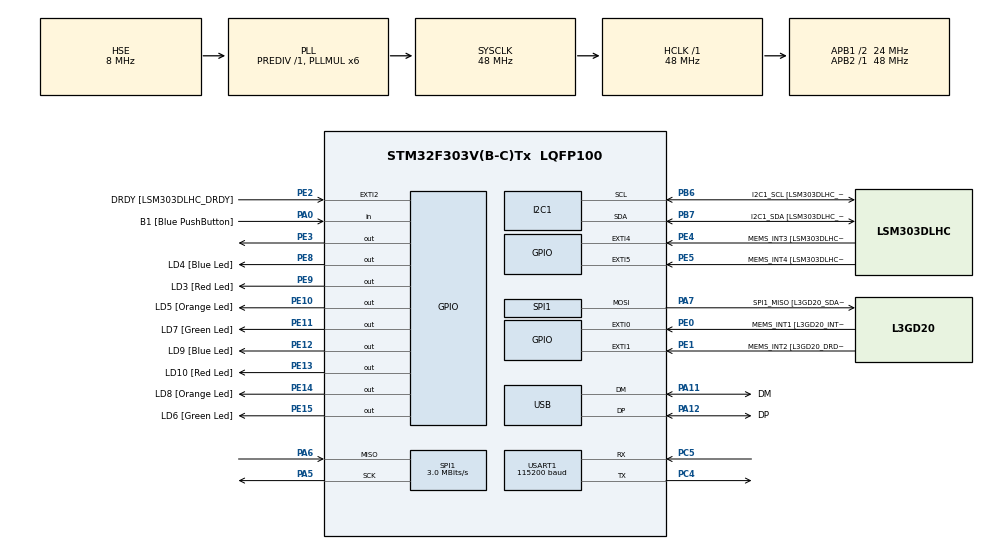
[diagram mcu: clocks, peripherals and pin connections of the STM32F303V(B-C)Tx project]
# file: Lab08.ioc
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I2C1.Timing=0x00201D2B
I2C1.Timing-I2C=0x2000090E
Mcu.Family=STM32F3
Mcu.Name=STM32F303V(B-C)Tx
Mcu.Package=LQFP100
NVIC.PriorityGroup=NVIC_PRIORITYGROUP_0
NVIC.SPI1_IRQn=true\:0\:0\:false\:false\:true\:true\:true\:true
NVIC.USB_LP_CAN_RX0_IRQn=true\:0\:0\:false\:false\:true\:false\:true\:true
PA0.GPIO_Label=B1 [Blue PushButton]
PA0.Signal=GPIO_Input
PA11.GPIO_Label=DM
PA11.Mode=Device
PA11.Signal=USB_DM
PA12.GPIO_Label=DP
PA12.Mode=Device
PA12.Signal=USB_DP
PA13.GPIO_Label=SWDIO
PA13.Mode=Serial_Wire
PA13.Signal=SYS_JTMS-SWDIO
PA14.GPIO_Label=SWCLK
PA14.Mode=Serial_Wire
PA14.Signal=SYS_JTCK-SWCLK
PA5.Mode=Full_Duplex_Master
PA5.Signal=SPI1_SCK
PA6.Mode=Full_Duplex_Master
PA6.Signal=SPI1_MISO
PA7.GPIO_Label=SPI1_MISO [L3GD20_SDA/SDI/SDO]
PA7.Mode=Full_Duplex_Master
PA7.Signal=SPI1_MOSI
PB3.GPIO_Label=SWO
PB3.Signal=SYS_JTDO-TRACESWO
PB6.GPIO_Label=I2C1_SCL [LSM303DLHC_SCL]
PB6.GPIO_Pu=GPIO_PULLUP
PB6.Mode=I2C
PB6.Signal=I2C1_SCL
PB7.GPIO_Label=I2C1_SDA [LSM303DLHC_SDA]
PB7.GPIO_Pu=GPIO_PULLUP
PB7.Mode=I2C
PB7.Signal=I2C1_SDA
PC14-OSC32_IN.GPIO_Label=OSC32_IN
PC14-OSC32_IN.Signal=RCC_OSC32_IN
PC15-OSC32_OUT.GPIO_Label=OSC32_OUT
PC15-OSC32_OUT.Signal=RCC_OSC32_OUT
PC4.Mode=Asynchronous
PC4.Signal=USART1_TX
PC5.Mode=Asynchronous
PC5.Signal=USART1_RX
PE0.GPIO_Label=MEMS_INT1 [L3GD20_INT1]
PE0.GPIO_ModeDefaultEXTI=GPIO_MODE_EVT_RISING
PE0.Signal=GPXTI0
PE1.GPIO_Label=MEMS_INT2 [L3GD20_DRDY/INT2]
PE1.GPIO_ModeDefaultEXTI=GPIO_MODE_EVT_RISING
PE1.Signal=GPXTI1
PE10.GPIO_Label=LD5 [Orange Led]
PE10.Signal=GPIO_Output
PE11.GPIO_Label=LD7 [Green Led]
PE11.Signal=GPIO_Output
PE12.GPIO_Label=LD9 [Blue Led]
PE12.Signal=GPIO_Output
PE13.GPIO_Label=LD10 [Red Led]
PE13.Signal=GPIO_Output
PE14.GPIO_Label=LD8 [Orange Led]
PE14.Signal=GPIO_Output
PE15.GPIO_Label=LD6 [Green Led]
PE15.Signal=GPIO_Output
PE2.GPIO_Label=DRDY [LSM303DLHC_DRDY]
PE2.GPIO_ModeDefaultEXTI=GPIO_MODE_EVT_RISING
PE2.Signal=GPXTI2
PE3.PinState=GPIO_PIN_SET
PE3.Signal=GPIO_Output
PE4.GPIO_Label=MEMS_INT3 [LSM303DLHC_INT1]
PE4.GPIO_ModeDefaultEXTI=GPIO_MODE_EVT_RISING
PE4.Signal=GPXTI4
PE5.GPIO_Label=MEMS_INT4 [LSM303DLHC_INT2]
PE5.GPIO_ModeDefaultEXTI=GPIO_MODE_EVT_RISING
PE5.Signal=GPXTI5
PE8.GPIO_Label=LD4 [Blue Led]
PE8.Signal=GPIO_Output
PE9.GPIO_Label=LD3 [Red Led]
PE9.Signal=GPIO_Output
PF0-OSC_IN.GPIO_Label=OSC_IN
PF0-OSC_IN.Mode=HSE-External-Clock-Source
PF0-OSC_IN.Signal=RCC_OSC_IN
PF1-OSC_OUT.GPIO_Label=OSC_OUT
PF1-OSC_OUT.Signal=RCC_OSC_OUT
ProjectManager.HeapSize=0x200
ProjectManager.StackSize=0x400
ProjectManager.TargetToolchain=CMake
RCC.AHBFreq_Value=48000000
RCC.APB1CLKDivider=RCC_HCLK_DIV2
RCC.APB1Freq_Value=24000000
RCC.APB1TimFreq_Value=48000000
RCC.APB2Freq_Value=48000000
RCC.APB2TimFreq_Value=48000000
RCC.CortexFreq_Value=48000000
RCC.HCLKFreq_Value=48000000
RCC.HSE_VALUE=8000000
RCC.HSI_VALUE=8000000
RCC.LSE_VALUE=32768
RCC.PLLMUL=RCC_PLL_MUL6
RCC.SYSCLKFreq_VALUE=48000000
RCC.SYSCLKSourceVirtual=RCC_SYSCLKSOURCE_PLLCLK
RCC.USBFreq_Value=48000000
SPI1.BaudRatePrescaler=SPI_BAUDRATEPRESCALER_16
SPI1.CLKPhase=SPI_PHASE_2EDGE
SPI1.CLKPolarity=SPI_POLARITY_HIGH
SPI1.CalculateBaudRate=3.0 MBits/s
SPI1.DataSize=SPI_DATASIZE_8BIT
SPI1.Direction=SPI_DIRECTION_2LINES
SPI1.Mode=SPI_MODE_MASTER
SPI1.VirtualType=VM_MASTER
USART1.BaudRate=115200
USART1.VirtualMode-Asynchronous=VM_ASYNC
USB_DEVICE.CLASS_NAME_FS=CDC
USB_DEVICE.VirtualMode=Cdc
USB_DEVICE.VirtualModeFS=Cdc_FS
VP_USB_DEVICE_VS_USB_DEVICE_CDC_FS.Mode=CDC_FS
board=STM32F3DISCOVERY

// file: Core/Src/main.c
/* USER CODE BEGIN Header */
/**
  ******************************************************************************
  * @file           : main.c
  * @brief          : Main program body
  ******************************************************************************
  * @attention
  *
  * Copyright (c) 2026 STMicroelectronics.
  * All rights reserved.
  *
  * This software is licensed under terms that can be found in the LICENSE file
  * in the root directory of this software component.
  * If no LICENSE file comes with this software, it is provided AS-IS.
  *
  ******************************************************************************
  */
/* USER CODE END Header */
#include "main.h"
#include "usb_device.h"

/* USER CODE BEGIN PD */

//task1
// #define WHO_AM_I       0x0F
// #define GYRO_READ_BIT  0x80

//task2
// #define CTRL_REG1       0x20
// #define CTRL_REG1_VAL   0x0F
// #define OUT_TEMP        0x26
// #define GYRO_READ_BIT   0x80

// task3
#define CTRL_REG1       0x20
#define CTRL_REG1_VAL   0x0F
#define OUT_TEMP        0x26
#define OUT_X_L         0x28
#define OUT_X_H         0x29
#define OUT_Y_L         0x2A
#define OUT_Y_H         0x2B
#define OUT_Z_L         0x2C
#define OUT_Z_H         0x2D
#define GYRO_READ_BIT   0x80
#define GYRO_SENSITIVITY 0.00875f

/* USER CODE END PD */

I2C_HandleTypeDef hi2c1;

SPI_HandleTypeDef hspi1;

UART_HandleTypeDef huart1;

/* USER CODE BEGIN PV */

//task 2
// uint8_t spi_tx_data[2];
// uint8_t spi_rx_data[2];
// volatile uint8_t spi_busy = 0;
// volatile uint8_t temp_ready = 0;
// volatile uint8_t spi_error = 0;
// volatile int8_t temperature = 0;
// char uart_buf[100];

//task 3
int8_t temperature = 0;

int16_t x_raw = 0;
int16_t y_raw = 0;
int16_t z_raw = 0;

float x_dps = 0;
float y_dps = 0;
float z_dps = 0;

char uart_buf[100];

/* USER CODE END PV */

void SystemClock_Config(void);
static void MX_GPIO_Init(void);
static void MX_I2C1_Init(void);
static void MX_SPI1_Init(void);
static void MX_USART1_UART_Init(void);

/* USER CODE BEGIN 0 */

//task 1
// uint8_t gyro_read_register(uint8_t reg)
// {
//     uint8_t tx = reg | GYRO_READ_BIT;
//     uint8_t rx = 0;

//     // Select gyroscope
//     HAL_GPIO_WritePin(GPIOE, GPIO_PIN_3, GPIO_PIN_RESET);

//     // Send register address with read bit
//     HAL_StatusTypeDef status =
//         HAL_SPI_Transmit(&hspi1, &tx, 1, 100);

//     // Receive register value
//     if (status == HAL_OK)
//     {
//         status = HAL_SPI_Receive(&hspi1, &rx, 1, 100);
//     }

//     // Deselect gyroscope
//     HAL_GPIO_WritePin(GPIOE, GPIO_PIN_3, GPIO_PIN_SET);

//     if (status != HAL_OK)
//     {
//         return 0;
//     }

//     return rx;
// }

//task 2
// void gyro_init(void)
// {
//     uint8_t tx[2] = {CTRL_REG1, CTRL_REG1_VAL};
//     // Select gyroscope
//     HAL_GPIO_WritePin(GPIOE, GPIO_PIN_3, GPIO_PIN_RESET);
//     // Write to CTRL_REG1
//     HAL_SPI_Transmit(&hspi1, tx, 2, HAL_MAX_DELAY);
//     // Deselect gyroscope
//     HAL_GPIO_WritePin(GPIOE, GPIO_PIN_3, GPIO_PIN_SET);
// }

// void gyro_read_temperature_IT(void)
// {
//     if (spi_busy)
//     return;

//     spi_busy = 1;
//     spi_tx_data[0] = OUT_TEMP | GYRO_READ_BIT;
//     spi_tx_data[1] = 0x00;
//     HAL_GPIO_WritePin(GPIOE, GPIO_PIN_3, GPIO_PIN_RESET);
//     if (HAL_SPI_TransmitReceive_IT(&hspi1,spi_tx_data, spi_rx_data,
//     2) != HAL_OK)
//     {
//       HAL_GPIO_WritePin(GPIOE, GPIO_PIN_3, GPIO_PIN_SET);
//       spi_busy = 0;
//       spi_error = 1;
//     }
// }

//task 3
void gyro_init(void)
{
    uint8_t tx[2] = {CTRL_REG1, CTRL_REG1_VAL};
    // Select gyroscope
    HAL_GPIO_WritePin(GPIOE, GPIO_PIN_3, GPIO_PIN_RESET);
    // Enable gyroscope and X, Y, Z axes
    HAL_SPI_Transmit(&hspi1, tx, 2, HAL_MAX_DELAY);
    // Deselect gyroscope
    HAL_GPIO_WritePin(GPIOE, GPIO_PIN_3, GPIO_PIN_SET);
}

uint8_t gyro_read_register(uint8_t reg)
{
    uint8_t tx[2] = {reg | GYRO_READ_BIT, 0x00};
    uint8_t rx[2] = {0};
    // Select gyroscope
    HAL_GPIO_WritePin(GPIOE, GPIO_PIN_3, GPIO_PIN_RESET);
    // Send register address and receive data
    HAL_StatusTypeDef status =
        HAL_SPI_TransmitReceive(&hspi1, tx, rx, 2, 100);
    // Deselect gyroscope
    HAL_GPIO_WritePin(GPIOE, GPIO_PIN_3, GPIO_PIN_SET);
    if (status != HAL_OK)
    {
        Error_Handler();
    }
    return rx[1];
}

void gyro_read_all(void)
{
    // Read temperature
    temperature = (int8_t)gyro_read_register(OUT_TEMP);
    // Read X-axis
    uint8_t x_low  = gyro_read_register(OUT_X_L);
    uint8_t x_high = gyro_read_register(OUT_X_H);
    // Read Y-axis
    uint8_t y_low  = gyro_read_register(OUT_Y_L);
    uint8_t y_high = gyro_read_register(OUT_Y_H);
    // Read Z-axis
    uint8_t z_low  = gyro_read_register(OUT_Z_L);
    uint8_t z_high = gyro_read_register(OUT_Z_H);
    // Combine low and high bytes
    x_raw = (int16_t)((uint16_t)x_low |
                      ((uint16_t)x_high << 8));

    y_raw = (int16_t)((uint16_t)y_low |
                      ((uint16_t)y_high << 8));

    z_raw = (int16_t)((uint16_t)z_low |
                      ((uint16_t)z_high << 8));
    // Convert raw readings into degrees per second
    x_dps = x_raw * GYRO_SENSITIVITY;
    y_dps = y_raw * GYRO_SENSITIVITY;
    z_dps = z_raw * GYRO_SENSITIVITY;
}
/* USER CODE END 0 */

int main(void)
{

  /* MCU Configuration--------------------------------------------------------*/

  /* Reset of all peripherals, Initializes the Flash interface and the Systick. */
  HAL_Init();

  /* Configure the system clock */
  SystemClock_Config();

  /* Initialize all configured peripherals */
  MX_GPIO_Init();
  MX_I2C1_Init();
  MX_SPI1_Init();
  MX_USART1_UART_Init();
  MX_USB_DEVICE_Init();
  /* USER CODE BEGIN 2 */

  // gyro_init();
  // uint32_t last_read = HAL_GetTick();

  //task 3
  /* USER CODE BEGIN 2 */

  HAL_Delay(100);
  gyro_init();
  HAL_Delay(100);

  /* USER CODE END 2 */

  /* Infinite loop */
  while (1)
  {

    /* USER CODE BEGIN 3 */

    //task 1
  //   uint8_t gyro_id = gyro_read_register(WHO_AM_I);

  //   char uart_buf[50];

  //   int len = sprintf(uart_buf,
  //                     "Gyroscope ID: 0x%02X\r\n",
  //                     gyro_id);

  //   HAL_UART_Transmit(&huart1,
  //                     (uint8_t *)uart_buf,
  //                     len,
  //                     HAL_MAX_DELAY);

  //   HAL_Delay(1000);
  // }

  //task 2
  // if ((HAL_GetTick() - last_read >= 150) && !spi_busy && !temp_ready)
  // {
  //   last_read = HAL_GetTick();
  //   gyro_read_temperature_IT();
  // }

  // if (temp_ready)
  // {
  //     temp_ready = 0;
  //     int len = sprintf(uart_buf,"Temperature:%d\r\n",(int)temperature);
  //     HAL_UART_Transmit(&huart1,(uint8_t *)uart_buf, len,
  //     HAL_MAX_DELAY);
  // }
  // }

  //task 3
  /* USER CODE BEGIN 3 */

  gyro_read_all();

  // Format temperature and angular velocity readings
  int len = snprintf(uart_buf,
                    sizeof(uart_buf),
                    "%d,%.2f,%.2f,%.2f\r\n",
                    (int)temperature,
                    (double)x_dps,
                    (double)y_dps,
                    (double)z_dps);

  // Send over UART
  if (len > 0 && len < sizeof(uart_buf))
  {
      HAL_UART_Transmit(&huart1,
                        (uint8_t *)uart_buf,
                        (uint16_t)len,
                        HAL_MAX_DELAY);
  }

  // Repeat every 150 ms
  HAL_Delay(150);

  /* USER CODE END 3 */
}}
void SystemClock_Config(void)
{
  RCC_OscInitTypeDef RCC_OscInitStruct = {0};
  RCC_ClkInitTypeDef RCC_ClkInitStruct = {0};
  RCC_PeriphCLKInitTypeDef PeriphClkInit = {0};

  /** Initializes the RCC Oscillators according to the specified parameters
  * in the RCC_OscInitTypeDef structure.
  */
  RCC_OscInitStruct.OscillatorType = RCC_OSCILLATORTYPE_HSI|RCC_OSCILLATORTYPE_HSE;
  RCC_OscInitStruct.HSEState = RCC_HSE_BYPASS;
  RCC_OscInitStruct.HSEPredivValue = RCC_HSE_PREDIV_DIV1;
  RCC_OscInitStruct.HSIState = RCC_HSI_ON;
  RCC_OscInitStruct.HSICalibrationValue = RCC_HSICALIBRATION_DEFAULT;
  RCC_OscInitStruct.PLL.PLLState = RCC_PLL_ON;
  RCC_OscInitStruct.PLL.PLLSource = RCC_PLLSOURCE_HSE;
  RCC_OscInitStruct.PLL.PLLMUL = RCC_PLL_MUL6;
  if (HAL_RCC_OscConfig(&RCC_OscInitStruct) != HAL_OK)
  {
    Error_Handler();
  }

  /** Initializes the CPU, AHB and APB buses clocks
  */
  RCC_ClkInitStruct.ClockType = RCC_CLOCKTYPE_HCLK|RCC_CLOCKTYPE_SYSCLK
                              |RCC_CLOCKTYPE_PCLK1|RCC_CLOCKTYPE_PCLK2;
  RCC_ClkInitStruct.SYSCLKSource = RCC_SYSCLKSOURCE_PLLCLK;
  RCC_ClkInitStruct.AHBCLKDivider = RCC_SYSCLK_DIV1;
  RCC_ClkInitStruct.APB1CLKDivider = RCC_HCLK_DIV2;
  RCC_ClkInitStruct.APB2CLKDivider = RCC_HCLK_DIV1;

  if (HAL_RCC_ClockConfig(&RCC_ClkInitStruct, FLASH_LATENCY_1) != HAL_OK)
  {
    Error_Handler();
  }
  PeriphClkInit.PeriphClockSelection = RCC_PERIPHCLK_USB|RCC_PERIPHCLK_USART1
                              |RCC_PERIPHCLK_I2C1;
  PeriphClkInit.Usart1ClockSelection = RCC_USART1CLKSOURCE_PCLK2;
  PeriphClkInit.I2c1ClockSelection = RCC_I2C1CLKSOURCE_HSI;
  PeriphClkInit.USBClockSelection = RCC_USBCLKSOURCE_PLL;
  if (HAL_RCCEx_PeriphCLKConfig(&PeriphClkInit) != HAL_OK)
  {
    Error_Handler();
  }
}

static void MX_I2C1_Init(void)
{

  hi2c1.Instance = I2C1;
  hi2c1.Init.Timing = 0x00201D2B;
  hi2c1.Init.OwnAddress1 = 0;
  hi2c1.Init.AddressingMode = I2C_ADDRESSINGMODE_7BIT;
  hi2c1.Init.DualAddressMode = I2C_DUALADDRESS_DISABLE;
  hi2c1.Init.OwnAddress2 = 0;
  hi2c1.Init.OwnAddress2Masks = I2C_OA2_NOMASK;
  hi2c1.Init.GeneralCallMode = I2C_GENERALCALL_DISABLE;
  hi2c1.Init.NoStretchMode = I2C_NOSTRETCH_DISABLE;
  if (HAL_I2C_Init(&hi2c1) != HAL_OK)
  {
    Error_Handler();
  }

  /** Configure Analogue filter
  */
  if (HAL_I2CEx_ConfigAnalogFilter(&hi2c1, I2C_ANALOGFILTER_ENABLE) != HAL_OK)
  {
    Error_Handler();
  }

  /** Configure Digital filter
  */
  if (HAL_I2CEx_ConfigDigitalFilter(&hi2c1, 0) != HAL_OK)
  {
    Error_Handler();
  }

}

static void MX_SPI1_Init(void)
{

  /* SPI1 parameter configuration*/
  hspi1.Instance = SPI1;
  hspi1.Init.Mode = SPI_MODE_MASTER;
  hspi1.Init.Direction = SPI_DIRECTION_2LINES;
  hspi1.Init.DataSize = SPI_DATASIZE_8BIT;
  hspi1.Init.CLKPolarity = SPI_POLARITY_HIGH;
  hspi1.Init.CLKPhase = SPI_PHASE_2EDGE;
  hspi1.Init.NSS = SPI_NSS_SOFT;
  hspi1.Init.BaudRatePrescaler = SPI_BAUDRATEPRESCALER_16;
  hspi1.Init.FirstBit = SPI_FIRSTBIT_MSB;
  hspi1.Init.TIMode = SPI_TIMODE_DISABLE;
  hspi1.Init.CRCCalculation = SPI_CRCCALCULATION_DISABLE;
  hspi1.Init.CRCPolynomial = 7;
  hspi1.Init.CRCLength = SPI_CRC_LENGTH_DATASIZE;
  hspi1.Init.NSSPMode = SPI_NSS_PULSE_DISABLE;
  if (HAL_SPI_Init(&hspi1) != HAL_OK)
  {
    Error_Handler();
  }

}

static void MX_USART1_UART_Init(void)
{

  huart1.Instance = USART1;
  huart1.Init.BaudRate = 115200;
  huart1.Init.WordLength = UART_WORDLENGTH_8B;
  huart1.Init.StopBits = UART_STOPBITS_1;
  huart1.Init.Parity = UART_PARITY_NONE;
  huart1.Init.Mode = UART_MODE_TX_RX;
  huart1.Init.HwFlowCtl = UART_HWCONTROL_NONE;
  huart1.Init.OverSampling = UART_OVERSAMPLING_16;
  huart1.Init.OneBitSampling = UART_ONE_BIT_SAMPLE_DISABLE;
  huart1.AdvancedInit.AdvFeatureInit = UART_ADVFEATURE_NO_INIT;
  if (HAL_UART_Init(&huart1) != HAL_OK)
  {
    Error_Handler();
  }

}

static void MX_GPIO_Init(void)
{
  GPIO_InitTypeDef GPIO_InitStruct = {0};

  /* GPIO Ports Clock Enable */
  __HAL_RCC_GPIOE_CLK_ENABLE();
  __HAL_RCC_GPIOC_CLK_ENABLE();
  __HAL_RCC_GPIOF_CLK_ENABLE();
  __HAL_RCC_GPIOA_CLK_ENABLE();
  __HAL_RCC_GPIOB_CLK_ENABLE();

  /*Configure GPIO pin Output Level */
  HAL_GPIO_WritePin(GPIOE, GPIO_PIN_3, GPIO_PIN_SET);

  /*Configure GPIO pin Output Level */
  HAL_GPIO_WritePin(GPIOE, LD4_Pin|LD3_Pin|LD5_Pin|LD7_Pin
                          |LD9_Pin|LD10_Pin|LD8_Pin|LD6_Pin, GPIO_PIN_RESET);

  /*Configure GPIO pins : DRDY_Pin MEMS_INT3_Pin MEMS_INT4_Pin MEMS_INT1_Pin
                           MEMS_INT2_Pin */
  GPIO_InitStruct.Pin = DRDY_Pin|MEMS_INT3_Pin|MEMS_INT4_Pin|MEMS_INT1_Pin
                          |MEMS_INT2_Pin;
  GPIO_InitStruct.Mode = GPIO_MODE_EVT_RISING;
  GPIO_InitStruct.Pull = GPIO_NOPULL;
  HAL_GPIO_Init(GPIOE, &GPIO_InitStruct);

  /*Configure GPIO pins : PE3 LD4_Pin LD3_Pin LD5_Pin
                           LD7_Pin LD9_Pin LD10_Pin LD8_Pin
                           LD6_Pin */
  GPIO_InitStruct.Pin = GPIO_PIN_3|LD4_Pin|LD3_Pin|LD5_Pin
                          |LD7_Pin|LD9_Pin|LD10_Pin|LD8_Pin
                          |LD6_Pin;
  GPIO_InitStruct.Mode = GPIO_MODE_OUTPUT_PP;
  GPIO_InitStruct.Pull = GPIO_NOPULL;
  GPIO_InitStruct.Speed = GPIO_SPEED_FREQ_LOW;
  HAL_GPIO_Init(GPIOE, &GPIO_InitStruct);

  /*Configure GPIO pin : B1_Pin */
  GPIO_InitStruct.Pin = B1_Pin;
  GPIO_InitStruct.Mode = GPIO_MODE_INPUT;
  GPIO_InitStruct.Pull = GPIO_NOPULL;
  HAL_GPIO_Init(B1_GPIO_Port, &GPIO_InitStruct);

}

/* USER CODE BEGIN 4 */

// void HAL_SPI_ErrorCallback(SPI_HandleTypeDef *hspi)
// {
//     if (hspi->Instance == SPI1)
//     {
//         HAL_GPIO_WritePin(GPIOE, GPIO_PIN_3, GPIO_PIN_SET);

//         spi_busy = 0;
//         spi_error = 1;
//     }
// }

// void HAL_SPI_TxRxCpltCallback(SPI_HandleTypeDef *hspi)
// {
//     if (hspi->Instance == SPI1)
//     {
//         HAL_GPIO_WritePin(GPIOE, GPIO_PIN_3, GPIO_PIN_SET);

//         temperature = (int8_t)spi_rx_data[1];

//         HAL_GPIO_TogglePin(GPIOE, LD3_Pin);

//         temp_ready = 1;
//         spi_busy = 0;
//     }
// }

/* USER CODE END 4 */

void Error_Handler(void)
{
  __disable_irq();
  while (1)
  {
  }
}
